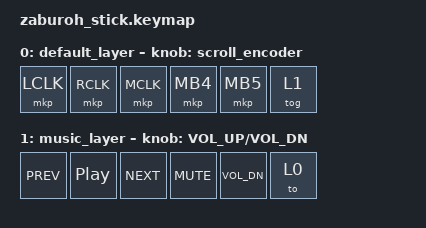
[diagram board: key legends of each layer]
// This file was generated from a template. Edit it to match your keyboard.
// See https://zmk.dev/docs/development/hardware-integration/new-shield for more instructions.

#include <behaviors.dtsi>
#include <dt-bindings/zmk/keys.h>
#include <dt-bindings/zmk/bt.h>
#include <dt-bindings/zmk/outputs.h>
#include <dt-bindings/zmk/pointing.h>

/ {
    behaviors {
        scroll_encoder: scroll_encoder {
            compatible = "zmk,behavior-sensor-rotate";
            #sensor-binding-cells = <0>;
            bindings = <&msc MOVE_Y(64)>, <&msc MOVE_Y(-64)>;
            tap-ms = <20>;
        };
    };

    // Define a default keymap here.
    // See https://zmk.dev/docs/development/hardware-integration/new-shield#default-keymap.
    keymap {
        compatible = "zmk,keymap";

        default_layer {
            bindings = <
                &mkp LCLK &mkp RCLK &mkp MCLK &mkp MB4 &mkp MB5 &tog 1
            >;

            sensor-bindings = <&scroll_encoder>;
        };

        music_layer {
            bindings = <
                &kp C_PREV &kp C_PLAY_PAUSE &kp C_NEXT &kp C_MUTE &kp C_VOL_DN &to 0
            >;

            sensor-bindings = <&inc_dec_kp C_VOL_UP C_VOL_DN>;
        };
    };
};
